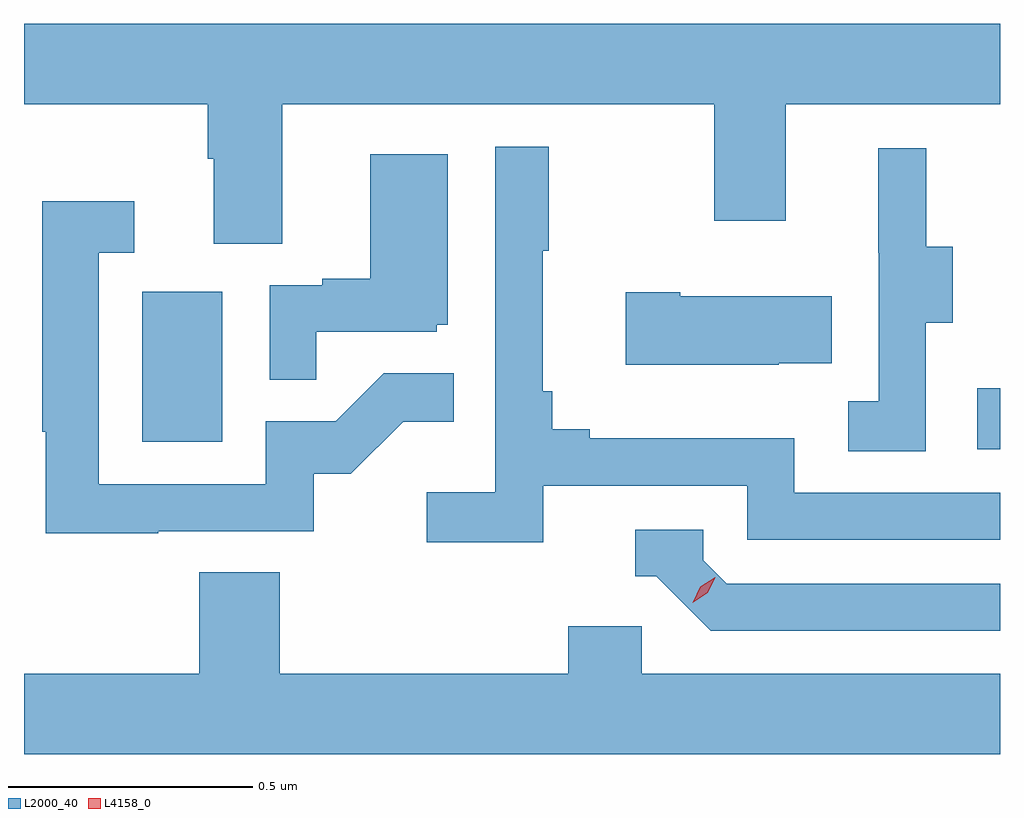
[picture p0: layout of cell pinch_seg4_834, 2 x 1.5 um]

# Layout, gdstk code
import gdstk
lib = gdstk.Library(unit=1e-6, precision=1e-09)
def R(c, l, rs):  # rectangles x0, y0, x1, y1
    for r in rs: c.add(gdstk.rectangle(r[:2], r[2:], *l))
def P(c, l, *ps):  # polygons
    for p in ps: c.add(gdstk.Polygon(p, *l))
L2000_40 = (2000, 40)
L4158_0 = (4158, 0)

pinch_seg4_834 = lib.new_cell('pinch_seg4_834')
R(pinch_seg4_834, L2000_40, [(805.947,805.437,805.994,805.562), (804.236,805.452,804.4,805.759)])
P(pinch_seg4_834, L2000_40, [(804.523,806.144),(805.408,806.144),(805.408,805.905),(805.555,805.905),(805.555,806.144),(805.994,806.144),(805.994,806.308),(803.994,806.308),(803.994,806.144),(804.371,806.144),(804.371,806.032),(804.383,806.032),(804.383,805.858),(804.523,805.858)],
  [(805.058,805.362),(805.476,805.362),(805.476,805.251),(805.994,805.251),(805.994,805.347),(805.572,805.347),(805.572,805.459),(805.153,805.459),(805.153,805.478),(805.076,805.478),(805.076,805.555),(805.057,805.555),(805.057,805.843),(805.069,805.843),(805.069,806.056),(804.96,806.056),(804.96,805.348),(804.819,805.348),(804.819,805.246),(805.058,805.246)],
  [(805.842,805.696),(805.897,805.696),(805.897,805.851),(805.843,805.851),(805.843,806.053),(805.745,806.053),(805.745,805.839),(805.746,805.839),(805.746,805.535),(805.683,805.535),(805.683,805.432),(805.842,805.432)],
  [(804.593,805.677),(804.84,805.677),(804.84,805.692),(804.862,805.692),(804.862,806.041),(804.704,806.041),(804.704,805.786),(804.605,805.786),(804.605,805.773),(804.498,805.773),(804.498,805.579),(804.593,805.579)],
  [(804.269,805.269),(804.588,805.269),(804.588,805.386),(804.664,805.386),(804.771,805.493),(804.875,805.493),(804.875,805.592),(804.731,805.592),(804.633,805.494),(804.489,805.494),(804.489,805.365),(804.147,805.365),(804.147,805.839),(804.22,805.839),(804.22,805.945),(804.031,805.945),(804.031,805.472),(804.039,805.472),(804.039,805.264),(804.269,805.264)],
  [(805.541,805.613),(805.649,805.613),(805.649,805.75),(805.339,805.75),(805.339,805.758),(805.227,805.758),(805.227,805.61),(805.541,805.61)],
  [(805.994,805.161),(805.434,805.161),(805.386,805.209),(805.386,805.272),(805.247,805.272),(805.247,805.176),(805.29,805.176),(805.401,805.065),(805.994,805.065)],
  [(805.994,804.976),(805.26,804.976),(805.26,805.074),(805.109,805.074),(805.109,804.976),(804.518,804.976),(804.518,805.184),(804.353,805.184),(804.353,804.976),(803.994,804.976),(803.994,804.812),(805.994,804.812)])
P(pinch_seg4_834, L4158_0, [(805.364,805.122),(805.364,805.122),(805.38,805.155),(805.41,805.174),(805.411,805.174),(805.411,805.174),(805.395,805.142),(805.364,805.122)])

lib.write_gds('pinch_seg4_834.gds')
